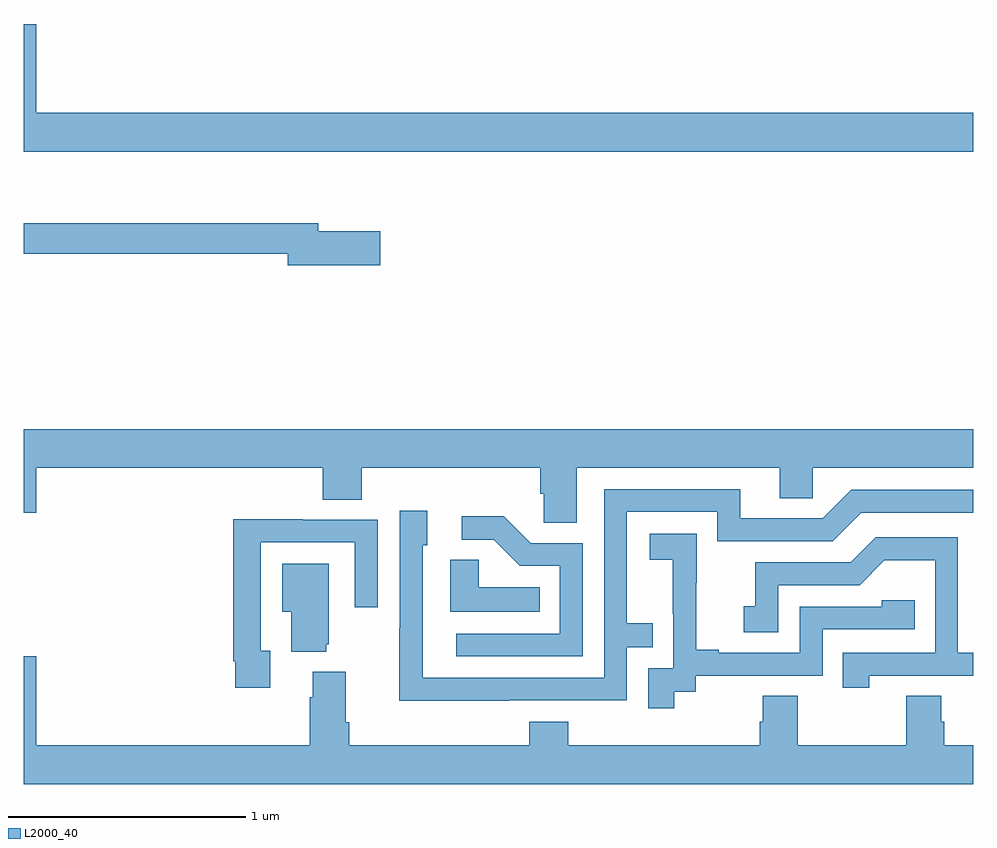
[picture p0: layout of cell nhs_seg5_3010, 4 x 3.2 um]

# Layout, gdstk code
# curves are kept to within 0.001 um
import gdstk
lib = gdstk.Library(unit=1e-6, precision=1e-09)
def P(c, l, *ps):  # polygons
    for p in ps: c.add(gdstk.Polygon(p, *l))
L2000_40 = (2000, 40)

nhs_seg5_3010 = lib.new_cell('nhs_seg5_3010')
P(nhs_seg5_3010, L2000_40, [(289,890.224),(285.052,890.224),(285.052,890.599),(285,890.599),(285,890.06),(289,890.06)],
  [(286.501,889.725),(286.24,889.725),(286.24,889.759),(285,889.759),(285,889.63),(286.112,889.63),(286.112,889.583),(286.501,889.583)],
  [(287.329,888.728),(288.185,888.728),(288.185,888.601),(288.324,888.601),(288.324,888.728),(289,888.728),(289,888.892),(285,888.892),(285,888.54),(285.052,888.54),(285.052,888.728),(286.259,888.728),(286.259,888.595),(286.424,888.595),(286.424,888.728),(287.177,888.728),(287.177,888.619),(287.19,888.619),(287.19,888.496),(287.329,888.496)],
  [(287.045,887.748),(287.541,887.748),(287.541,887.973),(287.651,887.973),(287.651,888.074),(287.541,888.074),(287.541,888.543),(287.922,888.543),(287.922,888.42),(288.408,888.42),(288.528,888.54),(289,888.54),(289,888.636),(288.486,888.636),(288.366,888.516),(288.019,888.516),(288.019,888.639),(287.445,888.639),(287.445,887.844),(286.68,887.844),(286.68,888.402),(286.699,888.402),(286.699,888.547),(286.584,888.547),(286.584,888.053),(286.582,888.053),(286.582,887.747)],
  [(287.355,888.411),(287.136,888.411),(287.023,888.524),(286.845,888.524),(286.845,888.426),(286.979,888.426),(287.09,888.315),(287.259,888.315),(287.259,888.03),(286.821,888.03),(286.821,887.934),(287.355,887.934)],
  [(286.039,887.958),(285.999,887.958),(285.999,888.414),(286.395,888.414),(286.395,888.141),(286.491,888.141),(286.491,888.51),(286.175,888.51),(286.175,888.512),(285.883,888.512),(285.883,887.914),(285.891,887.914),(285.891,887.802),(286.039,887.802)],
  [(287.74,887.785),(287.832,887.785),(287.832,887.853),(288.366,887.853),(288.366,888.048),(288.755,888.048),(288.755,888.171),(288.615,888.171),(288.615,888.144),(288.27,888.144),(288.27,887.949),(287.929,887.949),(287.929,887.962),(287.834,887.962),(287.834,888.245),(287.835,888.245),(287.835,888.451),(287.637,888.451),(287.637,888.341),(287.735,888.341),(287.735,888.113),(287.736,888.113),(287.736,887.883),(287.631,887.883),(287.631,887.715),(287.74,887.715)],
  [(288.562,887.853),(289,887.853),(289,887.949),(288.936,887.949),(288.936,888.435),(288.59,888.435),(288.485,888.33),(288.082,888.33),(288.082,888.145),(288.033,888.145),(288.033,888.036),(288.18,888.036),(288.18,888.234),(288.522,888.234),(288.626,888.338),(288.84,888.338),(288.84,887.949),(288.451,887.949),(288.451,887.802),(288.562,887.802)],
  [(287.174,888.226),(286.917,888.226),(286.917,888.341),(286.796,888.341),(286.796,888.122),(287.174,888.122)],
  [(286.274,887.985),(286.285,887.985),(286.285,888.325),(286.088,888.325),(286.088,888.122),(286.127,888.122),(286.127,887.954),(286.274,887.954)],
  [(289,887.56),(288.878,887.56),(288.878,887.658),(288.865,887.658),(288.865,887.768),(288.718,887.768),(288.718,887.56),(288.261,887.56),(288.261,887.768),(288.113,887.768),(288.113,887.658),(288.101,887.658),(288.101,887.56),(287.294,887.56),(287.294,887.659),(287.129,887.659),(287.129,887.56),(286.37,887.56),(286.37,887.656),(286.357,887.656),(286.357,887.869),(286.217,887.869),(286.217,887.762),(286.205,887.762),(286.205,887.56),(285.052,887.56),(285.052,887.935),(285,887.935),(285,887.396),(289,887.396)])

lib.write_gds('nhs_seg5_3010.gds')
